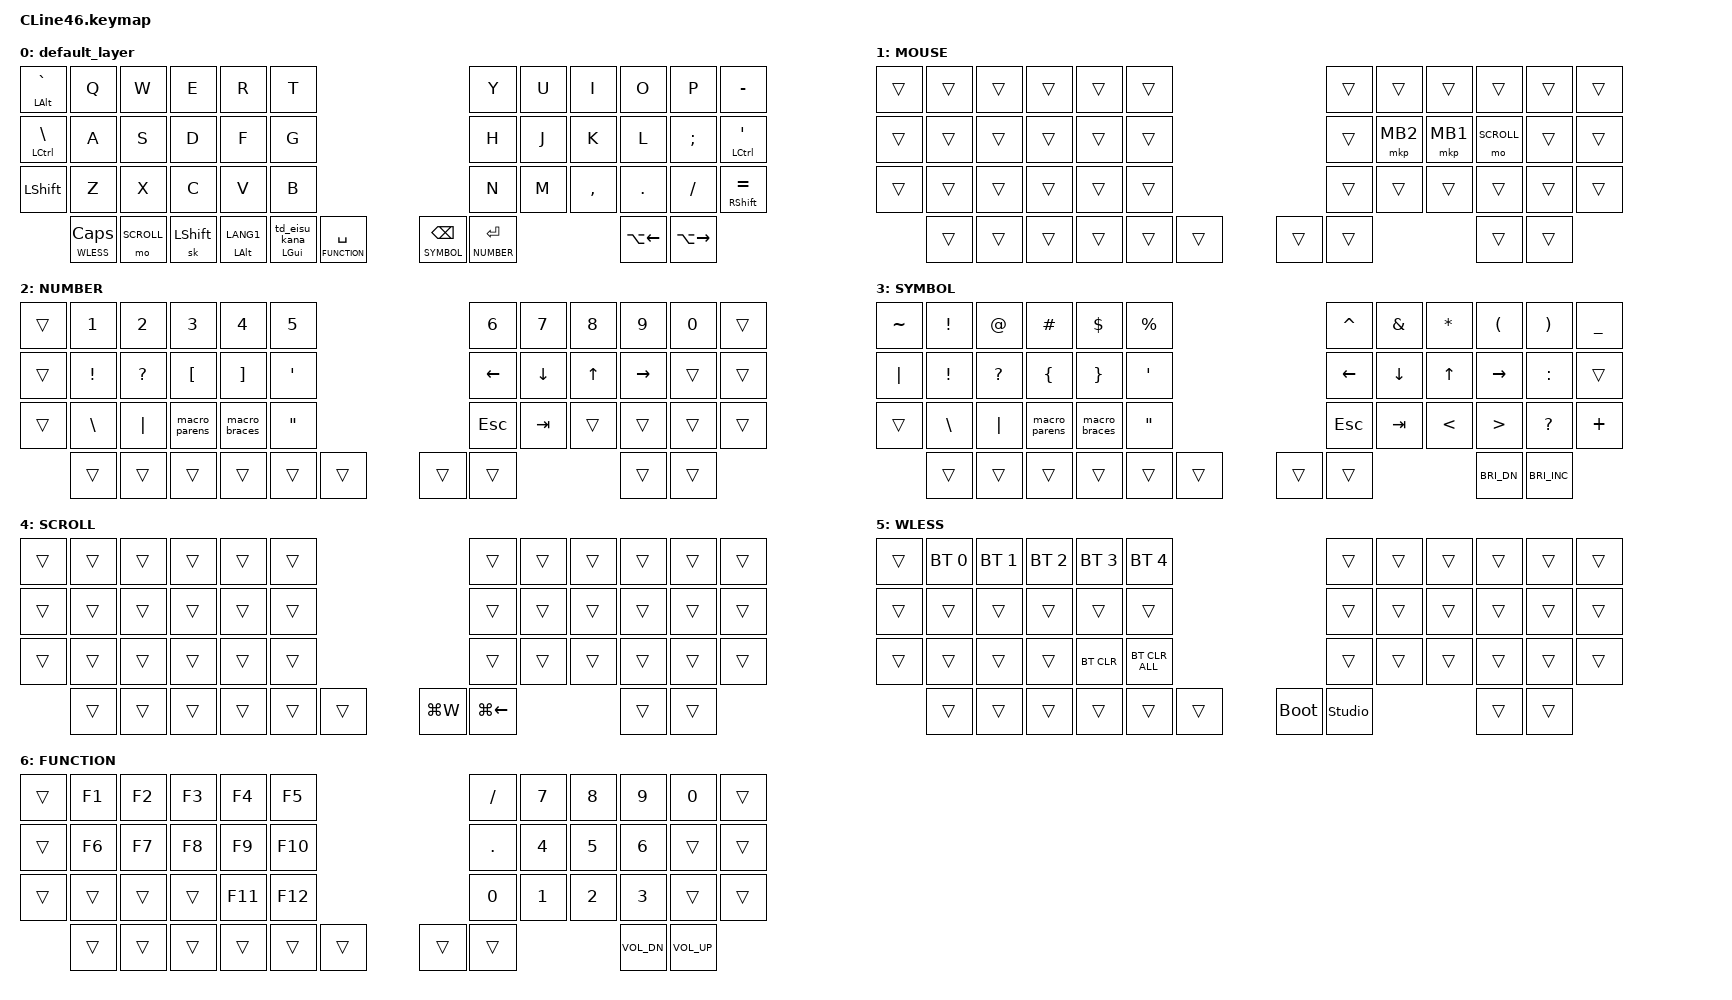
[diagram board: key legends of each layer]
#include <input/processors.dtsi>
#include <dt-bindings/zmk/input_transform.h>
#include <behaviors.dtsi>
#include <dt-bindings/zmk/bt.h>
#include <dt-bindings/zmk/keys.h>
#include <dt-bindings/zmk/pointing.h>

// レイヤー定義

#define MOUSE 1
#define NUMBER 2
#define SYMBOL 3
#define SCROLL 4
#define WLESS 5
#define FUNCTION 6

// MOUSE レイヤーを除くレイヤー一覧。MOUSE レイヤー中のキー(クリック/
// スクロール切り替え等)と物理位置が被るコンボが誤発火・遅延しないよう、
// 記号系コンボはこの一覧を layers に指定して MOUSE レイヤーでは無効にする

#define ALL_BUT_MOUSE 0 NUMBER FUNCTION SCROLL WLESS SYMBOL

// mt (ZMK Studio から割り当てる場合用) の判定設定

&mt {
    flavor = "balanced";
    quick-tap-ms = <0>;
};

/ {
    macros {
        /* ()を入力 */

        macro_parens: macro_parens {
            compatible = "zmk,behavior-macro";
            #binding-cells = <0>;
            wait-ms = <10>;
            tap-ms = <10>;
            bindings = <&kp LPAR &kp RPAR>;
        };

        /* []を入力 */

        macro_brackets: macro_brackets {
            compatible = "zmk,behavior-macro";
            #binding-cells = <0>;
            wait-ms = <10>;
            tap-ms = <10>;
            bindings = <&kp LBKT &kp RBKT>;
        };

        /* {}を入力 */

        macro_braces: macro_braces {
            compatible = "zmk,behavior-macro";
            #binding-cells = <0>;
            wait-ms = <10>;
            tap-ms = <10>;
            bindings = <&kp LBRC &kp RBRC>;
        };

        /* "() {}" を入力 */

        macro_if: if {
            compatible = "zmk,behavior-macro";
            #binding-cells = <0>;
            bindings = <&kp LPAR &kp RPAR &kp SPACE &kp LBRC &kp RBRC>;
            label = "IF";
        };

        /* 英数 (LANG2) に切り替えてから :@: を入力。
           IME の切り替えが終わる前に記号が入らないよう、英数のあとだけ 50ms 待つ */

        macro_colon_at: macro_colon_at {
            compatible = "zmk,behavior-macro";
            #binding-cells = <0>;
            wait-ms = <10>;
            tap-ms = <10>;
            bindings
                = <&macro_wait_time 50>
                , <&kp LANG2>
                , <&macro_wait_time 10>
                , <&kp COLON &kp AT &kp COLON>
                ;
        };
    };

    combos {
        compatible = "zmk,combos";

        // Alt+← (単語単位で左へ) : 左手上段 [E] + [R]
        // Alt+→ (単語単位で右へ) : 右手上段 [U] + [I]
        // ` : 右手上段 [I] + [O]

        combo_grave {
            bindings = <&kp GRAVE>;
            key-positions = <8 9>;
            layers = <ALL_BUT_MOUSE>;
        };

        // () {} : [D] + [F] + [J] + [K]

        combo_if {
            bindings = <&macro_if>;
            key-positions = <15 16 19 20>;
            layers = <ALL_BUT_MOUSE>;
        };

        // 押している間 SCROLL (トラックボールでスクロール) : 左手ホーム段 [D] + [F]

        L_SCROLL {
            bindings = <&mo SCROLL>;
            key-positions = <15 16>;
        };

        // Enter : 右手ホーム段 [J] + [K]

        R_RET {
            bindings = <&kp RET>;
            key-positions = <20 19>;
        };

        // ' : 右手ホーム段 [K] + [L]

        sqt {
            bindings = <&kp SQT>;
            key-positions = <21 20>;
        };

        // :@: : 右手ホーム段 [L] + [;]

        combo_colon_at {
            bindings = <&macro_colon_at>;
            key-positions = <21 22>;
            layers = <ALL_BUT_MOUSE>;
        };

        // \ : 右手下段 [M] + [,]

        combo_bslh {
            bindings = <&kp BSLH>;
            key-positions = <31 32>;
            layers = <ALL_BUT_MOUSE>;
        };

        // / : 右手下段 [,] + [.]

        combo_slash {
            bindings = <&kp SLASH>;
            key-positions = <33 32>;
            layers = <ALL_BUT_MOUSE>;
        };

        lang1 {
            bindings = <&kp LANG1>;
            key-positions = <15 14>;
        };
    };

    behaviors {
        // 一般的なHold-Tap (Hold: Modifier, Tap: Key)

        hm: hm {
            compatible = "zmk,behavior-hold-tap";
            label = "HM";
            #binding-cells = <2>;
            tapping-term-ms = <160>;
            flavor = "hold-preferred";
            bindings = <&kp>, <&kp>;
        };

        // スペース用 Layer-Tap (Hold: Layer, Tap: Space)。打鍵中の誤爆を避ける慎重寄りの設定
        // balanced          : Space を押したまま他キーを押して離し終えた時に hold (レイヤー) に確定。
        //                     Space を先に離すロール打ちは tap (スペース+文字) になる
        // require-prior-idle: 直前150ms以内に打鍵があれば即タップ確定 (文章入力中は常にスペース)
        // quick-tap         : 素早く2度目を押すと通常のスペース (長押しでリピート)

        slt: slt {
            compatible = "zmk,behavior-hold-tap";               
            label = "SLT";
            #binding-cells = <2>;
            tapping-term-ms = <170>;
            require-prior-idle-ms = <140>;
            quick-tap-ms = <140>;
            flavor = "balanced";
            bindings = <&mo>, <&kp>;
        };

        // BSPC 用 Layer-Tap (Hold: Layer, Tap: BSPC)。判定は ltk に合わせる。基本レイヤーの BSPC で SYMBOL 用に使用
        // hold-preferred : 押したまま他キーを押した時点で hold (レイヤー) に確定
        // quick-tap      : ltk と違い有効。素早く2度目を押すと通常の BSPC (長押しでリピートして連続削除)

        blt: blt {
            compatible = "zmk,behavior-hold-tap";
            label = "BLT";
            #binding-cells = <2>;
            tapping-term-ms = <190>;
            quick-tap-ms = <175>;
            flavor = "hold-preferred";
            bindings = <&mo>, <&kp>;
        };

        // 一般的なLayer-Tap (Hold: Layer, Tap: Key)

        ltk: ltk {
            compatible = "zmk,behavior-hold-tap";
            label = "LTK";
            #binding-cells = <2>;
            tapping-term-ms = <160>;
            flavor = "hold-preferred";
            quick-tap-ms = <0>;        // 連打からの長押しでタップ側がリピートするのを禁止
            bindings = <&mo>, <&kp>;
        };

        // 英数/かな Tap-Dance (1回タップ: 英数 / 2回タップ: かな)。cmd_eisu のタップ側から使う
        // tapping-term: 2回目のタップを待つ時間。1回タップの英数はこの分だけ遅れて出る

        td_eisu_kana: td_eisu_kana {
            compatible = "zmk,behavior-tap-dance";
            label = "TD_EISU_KANA";
            #binding-cells = <0>;
            tapping-term-ms = <200>;
            bindings = <&kp LANG2>, <&kp LANG1>;
        };

        // Cmd/英数キー用 Hold-Tap (Hold: Cmd, Tap: td_eisu_kana)。使い方: &cmd_eisu LGUI 0
        // 長押し判定を tap-dance の外に出し、Cmd が tap-dance の待ち時間なしで効くようにする
        // hold-preferred : hm と同じ。押したまま他キーを押した時点で Cmd に確定
        // quick-tap      : 1回目のタップ直後の2回目を即タップ扱いにし、2回タップのかなを確実に拾う

        cmd_eisu: cmd_eisu {
            compatible = "zmk,behavior-hold-tap";
            label = "CMD_EISU";
            #binding-cells = <2>;
            tapping-term-ms = <160>;
            quick-tap-ms = <200>;
            flavor = "hold-preferred";
            bindings = <&kp>, <&td_eisu_kana>;
        };
    };

    keymap {
        compatible = "zmk,keymap";

        // 各レイヤーの図: 空欄は &trans (下のレイヤー / ベースのキー)。
        // OS Sft = ワンショット Shift (タップで次の1文字だけ Shift、押し続けると普通の Shift)
        // A/B は「長押し A / タップ B」(例: Cmd/Eisu = 長押し Cmd、タップ 英数)
        // Cmd/Eisu は2回タップでかな (cmd_eisu)

        //0 基本
        //  +--------+--------+--------+--------+--------+--------+                           +--------+--------+--------+--------+--------+--------+
        //  | Alt/`  |   Q    |   W    |   E    |   R    |   T    |                           |   Y    |   U    |   I    |   O    |   P    |   -    |
        //  +--------+--------+--------+--------+--------+--------+                           +--------+--------+--------+--------+--------+--------+
        //  | Ctl/\  |   A    |   S    |   D    |   F    |   G    |                           |   H    |   J    |   K    |   L    |   ;    | Ctl/'  |
        //  +--------+--------+--------+--------+--------+--------+                           +--------+--------+--------+--------+--------+--------+
        //  | Shift  |   Z    |   X    |   C    |   V    |   B    |                           |   N    |   M    |   ,    |   .    |   /    | Sft/=  |
        //  +--------+--------+--------+--------+--------+--------+                           +--------+--------+--------+--------+--------+--------+
        //           +--------+--------+--------+--------+--------+--------+         +--------+--------+                  +--------+--------+
        //           |WL/Caps | SCROLL | OS Sft |Alt/Esc |Cmd/Eisu| FN/Spc |         |SYM/BS  |NUM/Ent |                  | Opt+<- | Opt+-> |
        //           +--------+--------+--------+--------+--------+--------+         +--------+--------+                  +--------+--------+

        default_layer {
            bindings = <
&hm LALT GRAVE    &kp Q            &kp W      &kp E       &kp R         &kp T                                                     &kp Y    &kp U  &kp I      &kp O     &kp P      &kp MINUS
&hm LCTRL BSLH    &kp A            &kp S      &kp D       &kp F         &kp G                                                     &kp H    &kp J  &kp K      &kp L     &kp SEMI   &hm LCTRL SQT
&kp LSHIFT        &kp Z            &kp X      &kp C       &kp V         &kp B                                                     &kp N    &kp M  &kp COMMA  &kp DOT   &kp SLASH  &hm RSHIFT EQUAL
                  &ltk WLESS CAPS  &mo SCROLL &sk LSHIFT  &hm LALT LANG1  &cmd_eisu LGUI 0 &slt FUNCTION SPACE     &blt SYMBOL BSPC &ltk NUMBER RET                      &kp LA(LEFT)  &kp LA(RIGHT)
            >;
        };

        //1 マウス操作用
        //  +--------+--------+--------+--------+--------+--------+                           +--------+--------+--------+--------+--------+--------+
        //  |        |        |        |        |        |        |                           |        |        |        |        |        |        |
        //  +--------+--------+--------+--------+--------+--------+                           +--------+--------+--------+--------+--------+--------+
        //  |        |        |        |        |        |        |                           |        | RClick | LClick | SCROLL |        |        |
        //  +--------+--------+--------+--------+--------+--------+                           +--------+--------+--------+--------+--------+--------+
        //  |        |        |        |        |        |        |                           |        |        |        |        |        |        |
        //  +--------+--------+--------+--------+--------+--------+                           +--------+--------+--------+--------+--------+--------+
        //           +--------+--------+--------+--------+--------+--------+         +--------+--------+                  +--------+--------+
        //           |        |        |        |        |        |        |         |        |        |                  |        |        |
        //           +--------+--------+--------+--------+--------+--------+         +--------+--------+                  +--------+--------+

        MOUSE {
            bindings = <
&trans  &trans  &trans  &trans  &trans  &trans                    &trans  &trans    &trans    &trans      &trans  &trans
&trans  &trans  &trans  &trans  &trans  &trans                    &trans  &mkp MB2  &mkp MB1  &mo SCROLL  &trans  &trans
&trans  &trans  &trans  &trans  &trans  &trans                    &trans  &trans    &trans    &trans      &trans  &trans
        &trans  &trans  &trans  &trans  &trans  &trans    &trans  &trans                      &trans      &trans
            >;
        };

        //2 数字・記号・カッコ・矢印キー
        //  +--------+--------+--------+--------+--------+--------+                           +--------+--------+--------+--------+--------+--------+
        //  |        |   1    |   2    |   3    |   4    |   5    |                           |   6    |   7    |   8    |   9    |   0    |        |
        //  +--------+--------+--------+--------+--------+--------+                           +--------+--------+--------+--------+--------+--------+
        //  |        |   !    |   ?    |   [    |   ]    |   '    |                           |  Left  |  Down  |   Up   | Right  |        |        |
        //  +--------+--------+--------+--------+--------+--------+                           +--------+--------+--------+--------+--------+--------+
        //  |        |   \    |   |    |   ()   |   {}   |   "    |                           |  Esc   |  Tab   |        |        |        |        |
        //  +--------+--------+--------+--------+--------+--------+                           +--------+--------+--------+--------+--------+--------+
        //           +--------+--------+--------+--------+--------+--------+         +--------+--------+                  +--------+--------+
        //           |        |        |        |        |        |        |         |        |        |                  |        |        |
        //           +--------+--------+--------+--------+--------+--------+         +--------+--------+                  +--------+--------+

        NUMBER {
            bindings = <
&trans  &kp N1    &kp N2     &kp N3         &kp N4         &kp N5                     &kp N6    &kp N7    &kp N8  &kp N9     &kp N0  &trans
&trans  &kp EXCL  &kp QMARK  &kp LBKT       &kp RBKT       &kp SQT                    &kp LEFT  &kp DOWN  &kp UP  &kp RIGHT  &trans  &trans
&trans  &kp BSLH  &kp PIPE   &macro_parens  &macro_braces  &kp DQT                    &kp ESC   &kp TAB   &trans  &trans     &trans  &trans
        &trans  &trans  &trans  &trans  &trans  &trans    &trans  &trans                      &trans     &trans
            >;
        };

        //3 記号 (BSPC の長押しで有効)
        //  上段は US 配列の Shift+数字 の記号 (NUMBER レイヤーの 1〜0 と同じ位置)
        //  2〜3段目の左手は NUMBER レイヤーとほぼ同じ (2段目の [ ] の位置だけ { } )
        //  ベースレイヤーで記号が出る位置は、その記号の Shift 版 (` → ~ / \ → | / - → _ / ; → : / , . / → < > ? / = → +)
        //  +--------+--------+--------+--------+--------+--------+                           +--------+--------+--------+--------+--------+--------+
        //  |   ~    |   !    |   @    |   #    |   $    |   %    |                           |   ^    |   &    |   *    |   (    |   )    |   _    |
        //  +--------+--------+--------+--------+--------+--------+                           +--------+--------+--------+--------+--------+--------+
        //  |   |    |   !    |   ?    |   {    |   }    |   '    |                           |  Left  |  Down  |   Up   | Right  |   :    |        |
        //  +--------+--------+--------+--------+--------+--------+                           +--------+--------+--------+--------+--------+--------+
        //  |        |   \    |   |    |   ()   |   {}   |   "    |                           |  Esc   |  Tab   |   <    |   >    |   ?    |   +    |
        //  +--------+--------+--------+--------+--------+--------+                           +--------+--------+--------+--------+--------+--------+
        //           +--------+--------+--------+--------+--------+--------+         +--------+--------+                  +--------+--------+
        //           |        |        |        |        |        |        |         |        |        |                  |  Bri-  |  Bri+  |
        //           +--------+--------+--------+--------+--------+--------+         +--------+--------+                  +--------+--------+

        SYMBOL {
            bindings = <
&kp TILDE  &kp EXCL  &kp AT     &kp HASH       &kp DLLR       &kp PRCNT                       &kp CARET  &kp AMPS  &kp ASTRK  &kp LPAR      &kp RPAR   &kp UNDER
&kp PIPE   &kp EXCL  &kp QMARK  &kp LBRC       &kp RBRC       &kp SQT                         &kp LEFT   &kp DOWN  &kp UP     &kp RIGHT     &kp COLON  &trans
&trans     &kp BSLH  &kp PIPE   &macro_parens  &macro_braces  &kp DQT                         &kp ESC    &kp TAB   &kp LT     &kp GT        &kp QMARK  &kp PLUS
           &trans    &trans     &trans         &trans        &trans  &trans          &trans  &trans                          &kp C_BRI_DN  &kp C_BRI_INC
            >;
        };

        //4 スクロール操作用
        //  +--------+--------+--------+--------+--------+--------+                           +--------+--------+--------+--------+--------+--------+
        //  |        |        |        |        |        |        |                           |        |        |        |        |        |        |
        //  +--------+--------+--------+--------+--------+--------+                           +--------+--------+--------+--------+--------+--------+
        //  |        |        |        |        |        |        |                           |        |        |        |        |        |        |
        //  +--------+--------+--------+--------+--------+--------+                           +--------+--------+--------+--------+--------+--------+
        //  |        |        |        |        |        |        |                           |        |        |        |        |        |        |
        //  +--------+--------+--------+--------+--------+--------+                           +--------+--------+--------+--------+--------+--------+
        //           +--------+--------+--------+--------+--------+--------+         +--------+--------+                  +--------+--------+
        //           |        |        |        |        |        |        |         | Cmd+W  | Cmd+<- |                  |        |        |
        //           +--------+--------+--------+--------+--------+--------+         +--------+--------+                  +--------+--------+

        SCROLL {
            bindings = <
&trans  &trans  &trans  &trans  &trans  &trans                       &trans  &trans  &trans  &trans  &trans  &trans
&trans  &trans  &trans  &trans  &trans  &trans                       &trans  &trans  &trans  &trans  &trans  &trans
&trans  &trans  &trans  &trans  &trans  &trans                       &trans  &trans  &trans  &trans  &trans  &trans
        &trans  &trans  &trans  &trans  &trans  &trans    &kp LG(W)  &kp LG(LEFT)                 &trans  &trans
            >;
        };

        //5 通信・システム設定
        //  +--------+--------+--------+--------+--------+--------+                           +--------+--------+--------+--------+--------+--------+
        //  |        |  BT0   |  BT1   |  BT2   |  BT3   |  BT4   |                           |        |        |        |        |        |        |
        //  +--------+--------+--------+--------+--------+--------+                           +--------+--------+--------+--------+--------+--------+
        //  |        |        |        |        |        |        |                           |        |        |        |        |        |        |
        //  +--------+--------+--------+--------+--------+--------+                           +--------+--------+--------+--------+--------+--------+
        //  |        |        |        |        | BTClr  | ClrAll |                           |        |        |        |        |        |        |
        //  +--------+--------+--------+--------+--------+--------+                           +--------+--------+--------+--------+--------+--------+
        //           +--------+--------+--------+--------+--------+--------+         +--------+--------+                  +--------+--------+
        //           |        |        |        |        |        |        |         |  Boot  | Studio |                  |        |        |
        //           +--------+--------+--------+--------+--------+--------+         +--------+--------+                  +--------+--------+

        WLESS {
            bindings = <
&trans  &bt BT_SEL 0  &bt BT_SEL 1  &bt BT_SEL 2  &bt BT_SEL 3  &bt BT_SEL 4                           &trans          &trans  &trans  &trans  &trans  &trans
&trans  &trans        &trans        &trans        &trans        &trans                                 &trans          &trans  &trans  &trans  &trans  &trans
&trans  &trans        &trans        &trans        &bt BT_CLR    &bt BT_CLR_ALL                         &trans          &trans  &trans  &trans  &trans  &trans
        &trans        &trans        &trans        &trans        &trans          &trans    &bootloader  &studio_unlock                  &trans  &trans
            >;
        };

        //6 F1〜F12・テンキー・音量 (Space の長押しで有効)
        //  +--------+--------+--------+--------+--------+--------+                           +--------+--------+--------+--------+--------+--------+
        //  |        |   F1   |   F2   |   F3   |   F4   |   F5   |                           |   /    |   7    |   8    |   9    |   0    |        |
        //  +--------+--------+--------+--------+--------+--------+                           +--------+--------+--------+--------+--------+--------+
        //  |        |   F6   |   F7   |   F8   |   F9   |  F10   |                           |   .    |   4    |   5    |   6    |        |        |
        //  +--------+--------+--------+--------+--------+--------+                           +--------+--------+--------+--------+--------+--------+
        //  |        |        |        |        |  F11   |  F12   |                           |   0    |   1    |   2    |   3    |        |        |
        //  +--------+--------+--------+--------+--------+--------+                           +--------+--------+--------+--------+--------+--------+
        //           +--------+--------+--------+--------+--------+--------+         +--------+--------+                  +--------+--------+
        //           |        |        |        |        |        |        |         |        |        |                  |  Vol-  |  Vol+  |
        //           +--------+--------+--------+--------+--------+--------+         +--------+--------+                  +--------+--------+

        FUNCTION {
            bindings = <
&trans  &kp F1  &kp F2  &kp F3  &kp F4   &kp F5                     &kp SLASH  &kp N7  &kp N8  &kp N9  &kp N0  &trans
&trans  &kp F6  &kp F7  &kp F8  &kp F9   &kp F10                    &kp DOT    &kp N4  &kp N5  &kp N6  &trans  &trans
&trans  &trans  &trans  &trans  &kp F11  &kp F12                    &kp N0     &kp N1  &kp N2  &kp N3  &trans  &trans
        &trans  &trans  &trans  &trans   &trans   &trans    &trans  &trans                     &kp C_VOL_DN  &kp C_VOL_UP
            >;
        };
    };
};
